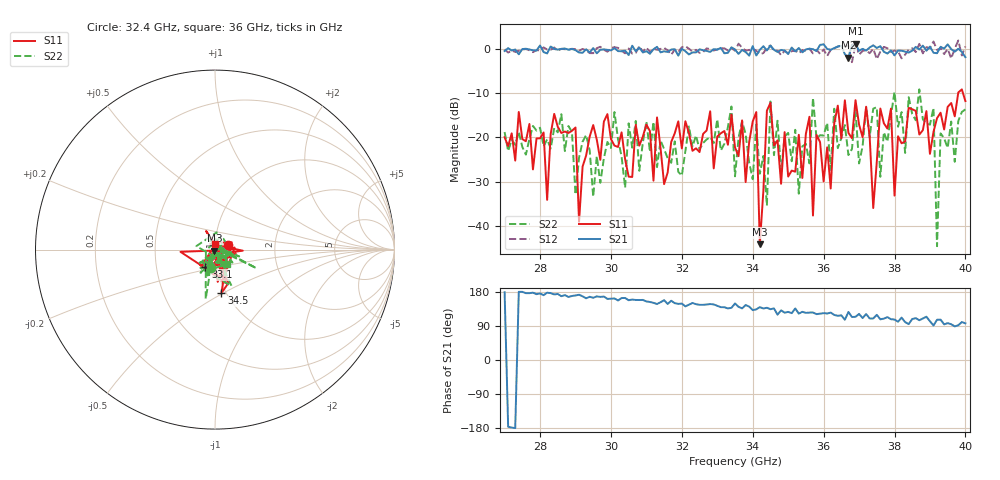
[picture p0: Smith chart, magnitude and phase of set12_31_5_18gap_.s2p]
! Quiescent point : V1=-1.64890E-02 I1=+1.34957E-03 V2=-2.31298E-02 I2=-1.31037E-03
! Pulsed point : V1=-1.71217E-02 I1=+1.34511E-03 V2=-2.34663E-02 I2=-1.32419E-03
! Period : +2.00000E-04
! Input Supply timing : delay=+1.60000E-06 width=+2.20000E-06
! Output Supply timing : delay=+1.70000E-06 width=+2.00000E-06
! VNA timing : delay=+2.40000E-06 width=+1.10000E-06
# Hz S RI R 50
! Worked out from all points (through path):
!   131 points, 27 GHz to 40 GHz, reference 50 ohm
!   highest |S21| = 1.14 dB at 36.9 GHz (marker M1); lowest = -2.0 dB at 36.7 GHz (marker M2)
!   group delay of S21, straight-line fit = 18.7 ps
!   lowest |S11| = -44.2 dB at 34.2 GHz (marker M3), VSWR 1.01, Z = 49.7 - j0.538 ohm
!   |S11| at or under -10 dB: start of sweep to 39.8 GHz; 39.9309 GHz to end of sweep
!   |S22| runs from -44.6 to -9.2 dB; largest |S21 - S12| = 0.45
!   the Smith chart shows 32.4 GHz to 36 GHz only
!   S11 on the Smith chart (normalised r, x): 32.4 GHz: 1.15, +0.06; 33.1 GHz: 0.88, -0.17; 34.5 GHz: 0.95, -0.49; 36 GHz: 1.00, +0.06
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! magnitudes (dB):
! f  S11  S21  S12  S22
! 27 GHz  -20.0  -0.5  -0.1  -18.8
! 29.2 GHz  -26.6  -0.9  -0.1  -21.0
! 31.4 GHz  -22.5  -0.8  0.0  -20.7
! 32.4 GHz  -22.5  -0.8  -0.3  -19.6
! 33.1 GHz  -19.1  0.2  0.1  -23.0
! 33.5 GHz  -22.3  -0.2  -0.5  -28.8
! 34.1 GHz  -14.3  -1.5  -0.4  -17.1
! 34.2 GHz  -44.2  -0.3  -1.2  -28.2
! 34.4 GHz  -14.0  -0.4  0.2  -35.4
! 34.5 GHz  -12.2  0.7  0.8  -11.9
! 35.3 GHz  -19.4  0.2  -1.0  -32.7
! 35.7 GHz  -37.7  -0.1  -1.1  -11.1
! 36 GHz  -30.0  1.0  -0.2  -19.6
! 36.7 GHz  -19.0  -2.0  0.7  -24.0
! 36.9 GHz  -11.6  1.1  1.0  -13.8
! 37.4 GHz  -36.0  0.8  0.0  -13.5
! 37.9 GHz  -13.5  -0.4  -0.7  -15.0
! 38 GHz  -33.2  -1.5  -0.4  -9.8
! 39.1 GHz  -18.8  -0.9  1.6  -13.4
! 39.2 GHz  -15.7  -1.0  -0.3  -44.6
! 39.3 GHz  -14.5  0.4  0.2  -19.1
! 40 GHz  -11.8  -1.9  0.5  -13.7
